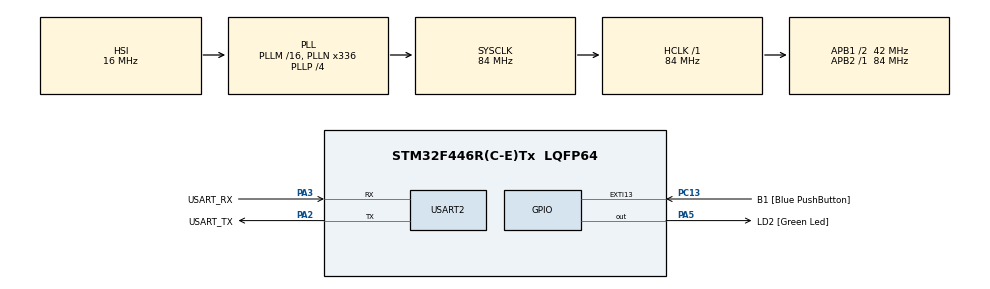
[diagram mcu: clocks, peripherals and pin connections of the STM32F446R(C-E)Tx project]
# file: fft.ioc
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Mcu.Family=STM32F4
Mcu.Name=STM32F446R(C-E)Tx
Mcu.Package=LQFP64
NVIC.PriorityGroup=NVIC_PRIORITYGROUP_0
PA13.GPIO_Label=TMS
PA13.Mode=Trace_Asynchronous_SW
PA13.Signal=SYS_JTMS-SWDIO
PA14.GPIO_Label=TCK
PA14.Mode=Trace_Asynchronous_SW
PA14.Signal=SYS_JTCK-SWCLK
PA2.GPIO_Label=USART_TX
PA2.Mode=Asynchronous
PA2.Signal=USART2_TX
PA3.GPIO_Label=USART_RX
PA3.Mode=Asynchronous
PA3.Signal=USART2_RX
PA5.GPIO_Label=LD2 [Green Led]
PA5.Signal=GPIO_Output
PB3.GPIO_Label=SWO
PB3.Mode=Trace_Asynchronous_SW
PB3.Signal=SYS_JTDO-SWO
PC13.GPIO_Label=B1 [Blue PushButton]
PC13.GPIO_ModeDefaultEXTI=GPIO_MODE_IT_FALLING
PC13.Signal=GPXTI13
PC14-OSC32_IN.Mode=LSE-External-Oscillator
PC14-OSC32_IN.Signal=RCC_OSC32_IN
PC15-OSC32_OUT.Mode=LSE-External-Oscillator
PC15-OSC32_OUT.Signal=RCC_OSC32_OUT
PH0-OSC_IN.Mode=HSE-External-Oscillator
PH0-OSC_IN.Signal=RCC_OSC_IN
PH1-OSC_OUT.Mode=HSE-External-Oscillator
PH1-OSC_OUT.Signal=RCC_OSC_OUT
ProjectManager.HeapSize=0x200
ProjectManager.StackSize=0x400
ProjectManager.TargetToolchain=STM32CubeIDE
RCC.48MHZClocksFreq_Value=84000000
RCC.AHBFreq_Value=84000000
RCC.APB1CLKDivider=RCC_HCLK_DIV2
RCC.APB1Freq_Value=42000000
RCC.APB1TimFreq_Value=84000000
RCC.APB2Freq_Value=84000000
RCC.APB2TimFreq_Value=84000000
RCC.CortexFreq_Value=84000000
RCC.FLatency-AdvancedSettings=FLASH_LATENCY_2
RCC.HCLKFreq_Value=84000000
RCC.HSE_VALUE=8000000
RCC.HSI_VALUE=16000000
RCC.PLLN=336
RCC.PLLP=RCC_PLLP_DIV4
RCC.SYSCLKFreq_VALUE=84000000
RCC.SYSCLKSource=RCC_SYSCLKSOURCE_PLLCLK
RCC.USBFreq_Value=168000000
RCC.VCOOutputFreq_Value=336000000
USART2.VirtualMode=VM_ASYNC
board=NUCLEO-F446RE

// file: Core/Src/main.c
/* USER CODE BEGIN Header */
/**
  ******************************************************************************
  * @file           : main.c
  * @brief          : Main program body
  ******************************************************************************
  * @attention
  *
  * Copyright (c) 2024 STMicroelectronics.
  * All rights reserved.
  *
  * This software is licensed under terms that can be found in the LICENSE file
  * in the root directory of this software component.
  * If no LICENSE file comes with this software, it is provided AS-IS.
  *
  ******************************************************************************
  */
/* USER CODE END Header */
#include "main.h"

/* USER CODE BEGIN Includes */
#include "arm_math.h"
/* USER CODE END Includes */

/* USER CODE BEGIN PM */
#define FFT_SIZE 2048
#define SAMPLE_RATE 1000.0f /* Hertz */
/* USER CODE END PM */

UART_HandleTypeDef huart2;

/* USER CODE BEGIN PV */
arm_rfft_fast_instance_f32 fft_handler;

/**
 * Buffer of sample points from signal to input to the FFT
 */
float fft_input[FFT_SIZE] = {0};
/**
 * FFT coefficients buffer.
 * Contains FFT_SIZE / 2 coefficients with each even and odd element being the
 * real and imaginary components of each coefficient, respectively.
 */
float fft_output[FFT_SIZE] = {0};
/**
 * Buffer containing the amplitudes of each coefficient.
 */
float fft_amplitudes[FFT_SIZE / 2] = {0};

int fft_index = 0;
uint8_t fft_ready = 0;

float peak_amplitude;
uint16_t peak_freq; /* Hertz */
/* USER CODE END PV */

void SystemClock_Config(void);
static void MX_GPIO_Init(void);
static void MX_USART2_UART_Init(void);
/* USER CODE BEGIN PFP */
float normalized_amplitude(float a, float b);
uint16_t index_to_frequency(int i);
float signal_function(int t);
/* USER CODE END PFP */

int main(void)
{

  /* MCU Configuration--------------------------------------------------------*/

  /* Reset of all peripherals, Initializes the Flash interface and the Systick. */
  HAL_Init();

  /* Configure the system clock */
  SystemClock_Config();

  /* Initialize all configured peripherals */
  MX_GPIO_Init();
  MX_USART2_UART_Init();
  /* USER CODE BEGIN 2 */
  arm_rfft_fast_init_f32(&fft_handler, FFT_SIZE);
  /* USER CODE END 2 */

  /* Infinite loop */
  /* USER CODE BEGIN WHILE */
  int counter = 0;
  while (1)
  {
	/*
	 * Get signal from source
	 * For this example, the signal is simulated from a sum of sinusoidal functions
	 * In the final code, this section would probably be put in a callback function
	 * 	triggered by the sensor sampling timer
	 */
	float signal = signal_function(counter);
	fft_input[fft_index] = signal;
	fft_index++;

	if (fft_index == FFT_SIZE)
	{
		/*
		 * Perform Fast Fourier Transform
		 * Cast the input and output buffers to (float *) to avoid a warning since
		 * we already gave the FFT instance the buffer size when instantiating it and
		 * it doesn't expect an array of a specific size.
		 */
		arm_rfft_fast_f32(&fft_handler, (float *) &fft_input, (float *) &fft_output, 0);
		// Reset FFT tracking
		fft_ready = 1;
		fft_index = 0;
	}

	/*
	 * Give a bit of visualization for the value of the signal
	 * Turn LED on when the signal is positive and off when it's negative
	 */
	HAL_GPIO_WritePin(LD2_GPIO_Port, LD2_Pin, signal > 0 ? GPIO_PIN_SET : GPIO_PIN_RESET);
	// Increase simulation step
	counter++;

	/*
	 * Handle the FFT output data
	 * This code can go in the main function as is
	 */
	if (fft_ready)
	{
		// Amplitude of zero frequency
		fft_amplitudes[0] = normalized_amplitude(fft_output[0], fft_output[1]);
		for (int i = 2; i < FFT_SIZE; i += 2)
		{
			// Amplitude of nonzero frequencies are twice the normalized amplitude of the FFT coefficients
			fft_amplitudes[i / 2] = 2 * normalized_amplitude(fft_output[i], fft_output[i + 1]);
		}

		// Find peak frequency and its amplitude
		peak_amplitude = 0;
		int peak_index = 0;
		for (int i = 0; i < FFT_SIZE / 2; i++)
		{
			if (fft_amplitudes[i] > peak_amplitude)
			{
				peak_amplitude = fft_amplitudes[i];
				peak_index = i;
			}
		}
		peak_freq = index_to_frequency(peak_index);

		// Reset FFT ready flag
		fft_ready = 0;
	}
    /* USER CODE END WHILE */

    /* USER CODE BEGIN 3 */
	// Delay 1ms to simulate sampling frequency of 1000 Hz
	HAL_Delay(1);
  }
  /* USER CODE END 3 */
}

void SystemClock_Config(void)
{
  RCC_OscInitTypeDef RCC_OscInitStruct = {0};
  RCC_ClkInitTypeDef RCC_ClkInitStruct = {0};

  /** Configure the main internal regulator output voltage
  */
  __HAL_RCC_PWR_CLK_ENABLE();
  __HAL_PWR_VOLTAGESCALING_CONFIG(PWR_REGULATOR_VOLTAGE_SCALE3);

  /** Initializes the RCC Oscillators according to the specified parameters
  * in the RCC_OscInitTypeDef structure.
  */
  RCC_OscInitStruct.OscillatorType = RCC_OSCILLATORTYPE_HSI;
  RCC_OscInitStruct.HSIState = RCC_HSI_ON;
  RCC_OscInitStruct.HSICalibrationValue = RCC_HSICALIBRATION_DEFAULT;
  RCC_OscInitStruct.PLL.PLLState = RCC_PLL_ON;
  RCC_OscInitStruct.PLL.PLLSource = RCC_PLLSOURCE_HSI;
  RCC_OscInitStruct.PLL.PLLM = 16;
  RCC_OscInitStruct.PLL.PLLN = 336;
  RCC_OscInitStruct.PLL.PLLP = RCC_PLLP_DIV4;
  RCC_OscInitStruct.PLL.PLLQ = 2;
  RCC_OscInitStruct.PLL.PLLR = 2;
  if (HAL_RCC_OscConfig(&RCC_OscInitStruct) != HAL_OK)
  {
    Error_Handler();
  }

  /** Initializes the CPU, AHB and APB buses clocks
  */
  RCC_ClkInitStruct.ClockType = RCC_CLOCKTYPE_HCLK|RCC_CLOCKTYPE_SYSCLK
                              |RCC_CLOCKTYPE_PCLK1|RCC_CLOCKTYPE_PCLK2;
  RCC_ClkInitStruct.SYSCLKSource = RCC_SYSCLKSOURCE_PLLCLK;
  RCC_ClkInitStruct.AHBCLKDivider = RCC_SYSCLK_DIV1;
  RCC_ClkInitStruct.APB1CLKDivider = RCC_HCLK_DIV2;
  RCC_ClkInitStruct.APB2CLKDivider = RCC_HCLK_DIV1;

  if (HAL_RCC_ClockConfig(&RCC_ClkInitStruct, FLASH_LATENCY_2) != HAL_OK)
  {
    Error_Handler();
  }
}

static void MX_USART2_UART_Init(void)
{

  huart2.Instance = USART2;
  huart2.Init.BaudRate = 115200;
  huart2.Init.WordLength = UART_WORDLENGTH_8B;
  huart2.Init.StopBits = UART_STOPBITS_1;
  huart2.Init.Parity = UART_PARITY_NONE;
  huart2.Init.Mode = UART_MODE_TX_RX;
  huart2.Init.HwFlowCtl = UART_HWCONTROL_NONE;
  huart2.Init.OverSampling = UART_OVERSAMPLING_16;
  if (HAL_UART_Init(&huart2) != HAL_OK)
  {
    Error_Handler();
  }

}

static void MX_GPIO_Init(void)
{
  GPIO_InitTypeDef GPIO_InitStruct = {0};

  /* GPIO Ports Clock Enable */
  __HAL_RCC_GPIOC_CLK_ENABLE();
  __HAL_RCC_GPIOH_CLK_ENABLE();
  __HAL_RCC_GPIOA_CLK_ENABLE();
  __HAL_RCC_GPIOB_CLK_ENABLE();

  /*Configure GPIO pin Output Level */
  HAL_GPIO_WritePin(LD2_GPIO_Port, LD2_Pin, GPIO_PIN_RESET);

  /*Configure GPIO pin : B1_Pin */
  GPIO_InitStruct.Pin = B1_Pin;
  GPIO_InitStruct.Mode = GPIO_MODE_IT_FALLING;
  GPIO_InitStruct.Pull = GPIO_NOPULL;
  HAL_GPIO_Init(B1_GPIO_Port, &GPIO_InitStruct);

  /*Configure GPIO pin : LD2_Pin */
  GPIO_InitStruct.Pin = LD2_Pin;
  GPIO_InitStruct.Mode = GPIO_MODE_OUTPUT_PP;
  GPIO_InitStruct.Pull = GPIO_NOPULL;
  GPIO_InitStruct.Speed = GPIO_SPEED_FREQ_LOW;
  HAL_GPIO_Init(LD2_GPIO_Port, &GPIO_InitStruct);

}

/* USER CODE BEGIN 4 */
/**
 * Find the amplitude of a complex number a + bi.
 * @param a: The real part of the complex number
 * @param b: The Imaginary part of the complex number.
 */
float normalized_amplitude(float a, float b)
{
	return sqrtf(a * a + b * b) / FFT_SIZE;
}

/**
 * Converts the index of the list of amplitudes to a frequency in Hz,
 * rounded to an integer.
 */
uint16_t index_to_frequency(int i)
{
	return (uint16_t) roundf(i * SAMPLE_RATE / FFT_SIZE);
}

float signal_function(int t_ms)
{
  float t_s = t_ms / SAMPLE_RATE;
  float scaled_time = t_s * (2 * PI);
  float value = cosf(scaled_time) + 2 * sinf(2 * scaled_time) + 3 * sinf(3 * scaled_time) + 4 * cosf(3 * scaled_time) + 3 * sinf(5 * scaled_time) + 0.5 * sinf(6 * scaled_time);
  return value;
}
/* USER CODE END 4 */

void Error_Handler(void)
{
  __disable_irq();
  while (1)
  {
  }
}
